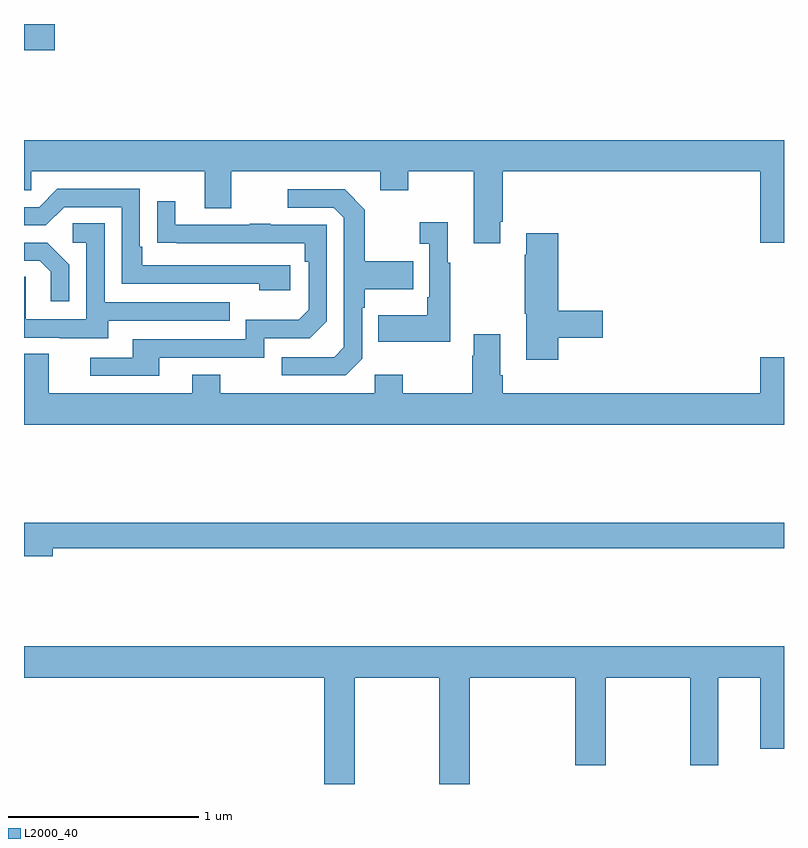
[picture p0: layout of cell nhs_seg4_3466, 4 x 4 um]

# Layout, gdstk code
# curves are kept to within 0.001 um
import gdstk
lib = gdstk.Library(unit=1e-6, precision=1e-09)
def R(c, l, rs):  # rectangles x0, y0, x1, y1
    for r in rs: c.add(gdstk.rectangle(r[:2], r[2:], *l))
def P(c, l, *ps):  # polygons
    for p in ps: c.add(gdstk.Polygon(p, *l))
L2000_40 = (2000, 40)

nhs_seg4_3466 = lib.new_cell('nhs_seg4_3466')
R(nhs_seg4_3466, L2000_40, [(293,826.762,293.161,826.9)])
P(nhs_seg4_3466, L2000_40, [(295.507,825.859),(295.52,825.859),(295.52,826.124),(296.876,826.124),(296.876,825.75),(297,825.75),(297,826.288),(293,826.288),(293,826.026),(293.037,826.026),(293.037,826.124),(293.951,826.124),(293.951,825.93),(294.091,825.93),(294.091,826.124),(294.875,826.124),(294.875,826.025),(295.023,826.025),(295.023,826.124),(295.367,826.124),(295.367,825.747),(295.507,825.747)],
  [(294.4,825.63),(293.623,825.63),(293.623,825.727),(293.61,825.727),(293.61,826.032),(293.175,826.032),(293.079,825.936),(293,825.936),(293,825.84),(293.115,825.84),(293.211,825.936),(293.514,825.936),(293.514,825.534),(294.239,825.534),(294.239,825.5),(294.4,825.5)],
  [(294.78,825.138),(294.78,825.407),(294.793,825.407),(294.793,825.503),(295.049,825.503),(295.049,825.651),(294.793,825.651),(294.793,825.923),(294.687,826.029),(294.387,826.029),(294.387,825.933),(294.63,825.933),(294.684,825.879),(294.684,825.198),(294.633,825.147),(294.357,825.147),(294.357,825.051),(294.693,825.051)],
  [(293.713,825.144),(294.264,825.144),(294.264,825.246),(294.504,825.246),(294.594,825.336),(294.594,825.843),(294.299,825.843),(294.299,825.848),(294.187,825.848),(294.187,825.843),(293.797,825.843),(293.797,825.967),(293.701,825.967),(293.701,825.748),(294.478,825.747),(294.478,825.65),(294.498,825.65),(294.498,825.396),(294.445,825.343),(294.168,825.343),(294.168,825.24),(293.573,825.24),(293.573,825.144),(293.349,825.144),(293.349,825.048),(293.713,825.048)],
  [(295.243,825.643),(295.231,825.643),(295.231,825.856),(295.083,825.856),(295.083,825.743),(295.134,825.743),(295.134,825.463),(295.122,825.463),(295.122,825.367),(294.865,825.367),(294.865,825.227),(295.243,825.227)],
  [(293.443,825.339),(294.083,825.339),(294.083,825.435),(293.424,825.435),(293.424,825.851),(293.256,825.851),(293.256,825.75),(293.328,825.75),(293.328,825.345),(293.01,825.345),(293.01,825.569),(293,825.569),(293,825.249),(293.189,825.249),(293.189,825.245),(293.443,825.245)],
  [(295.811,825.25),(296.047,825.25),(296.047,825.392),(295.811,825.392),(295.811,825.799),(295.643,825.799),(295.643,825.686),(295.636,825.686),(295.636,825.375),(295.643,825.375),(295.643,825.132),(295.811,825.132)],
  [(293.238,825.634),(293.122,825.75),(293,825.75),(293,825.654),(293.084,825.654),(293.141,825.597),(293.141,825.441),(293.238,825.441)],
  [(297,825.145),(296.876,825.145),(296.876,824.956),(295.52,824.956),(295.52,825.052),(295.507,825.052),(295.507,825.268),(295.367,825.268),(295.367,825.155),(295.36,825.155),(295.36,824.956),(294.993,824.956),(294.993,825.055),(294.846,825.055),(294.846,824.956),(294.033,824.956),(294.033,825.055),(293.885,825.055),(293.885,824.956),(293.131,824.956),(293.131,825.164),(293,825.164),(293,824.792),(297,824.792)],
  [(293.152,824.14),(297,824.14),(297,824.276),(293,824.276),(293,824.098),(293.152,824.098)],
  [(294.741,823.46),(295.186,823.46),(295.186,822.9),(295.346,822.9),(295.346,823.46),(295.901,823.46),(295.901,822.999),(296.061,822.999),(296.061,823.46),(296.506,823.46),(296.506,822.999),(296.653,822.999),(296.653,823.46),(296.876,823.46),(296.876,823.086),(297,823.086),(297,823.624),(293,823.624),(293,823.46),(294.581,823.46),(294.581,822.9),(294.741,822.9)])

lib.write_gds('nhs_seg4_3466.gds')
